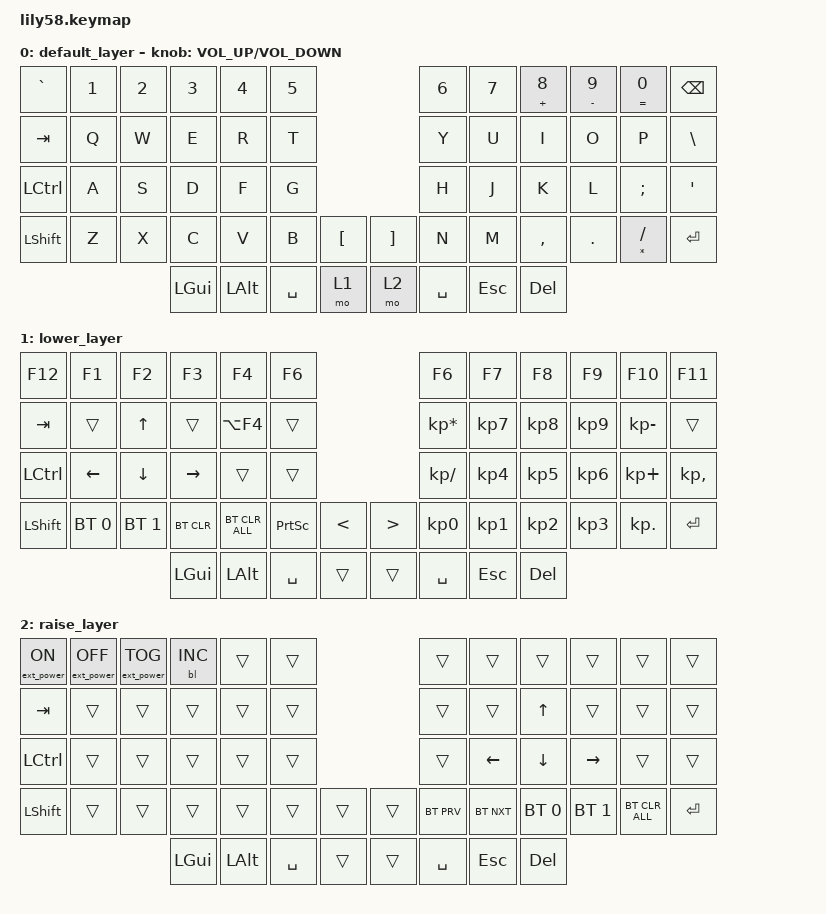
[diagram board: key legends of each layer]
/*
 * Copyright (c) 2020 The ZMK Contributors
 *
 * SPDX-License-Identifier: MIT
 */

#include <behaviors.dtsi>
#include <dt-bindings/zmk/backlight.h>
#include <dt-bindings/zmk/bt.h>
#include <dt-bindings/zmk/ext_power.h>
#include <dt-bindings/zmk/keys.h>

/ {
    combos { compatible = "zmk,combos"; };

    keymap {
        compatible = "zmk,keymap";

        default_layer {
            // ------------------------------------------------------------------------------------------------------------
            // |  ESC  |  1  |  2  |  3   |  4   |  5   |                   |  6   |  7    |  8    |  9   |   0   |   `   |
            // |  TAB  |  Q  |  W  |  E   |  R   |  T   |                   |  Y   |  U    |  I    |  O   |   P   |   -   |
            // |  CTRL |  A  |  S  |  D   |  F   |  G   |                   |  H   |  J    |  K    |  L   |   ;   |   '   |
            // | SHIFT |  Z  |  X  |  C   |  V   |  B   |   "["  |  |  "]"  |  N   |  M    |  ,    |  .   |   /   | SHIFT |
            //                     | ALT  | GUI  | LOWER|  SPACE |  | ENTER | RAISE| BSPC  | GUI   |

            bindings = <
&kp GRAVE       &kp N1  &kp N2  &kp N3        &kp N4        &kp N5                                   &kp N6     &kp N7   &mt PLUS N8  &mt MINUS N9  &mt EQUAL N0   &kp BACKSPACE
&kp TAB         &kp Q   &kp W   &kp E         &kp R         &kp T                                    &kp Y      &kp U    &kp I        &kp O         &kp P          &kp BSLH
&kp LCTRL       &kp A   &kp S   &kp D         &kp F         &kp G                                    &kp H      &kp J    &kp K        &kp L         &kp SEMI       &kp SQT
&kp LEFT_SHIFT  &kp Z   &kp X   &kp C         &kp V         &kp B      &kp LEFT_BRACKET    &kp RBKT  &kp N      &kp M    &kp COMMA    &kp DOT       &mt STAR FSLH  &kp ENTER
                                &kp LEFT_GUI  &kp LEFT_ALT  &kp SPACE  &mo 1               &mo 2     &kp SPACE  &kp ESC  &kp DEL
            >;

            sensor-bindings = <&inc_dec_kp C_VOLUME_UP C_VOLUME_DOWN>;
        };

        lower_layer {
            // ------------------------------------------------------------------------------------------------------------
            // | BTCLR | BT1 | BT2 |  BT3 |  BT4 |  BT5 |                   |      |       |       |      |       |       |
            // |  F1   |  F2 |  F3 |  F4  |  F5  |  F6  |                   |  F7  |  F8   |  F9   |  F10 |  F11  |  F12  |
            // |   `   |  !  |  @  |  #   |  $   |  %   |                   |  ^   |  &    |  *    |  (   |   )   |   ~   |
            // |       |     |     |      |      |      |        |  |       |      |  _    |  +    |  {   |   }   |  "|"  |
            //                     |      |      |      |        |  |       |      |       |       |

            bindings = <
&kp F12           &kp F1          &kp F2          &kp F3           &kp F4          &kp F6                                              &kp F6           &kp F7           &kp F8           &kp F9           &kp F10       &kp F11
&kp TAB           &trans          &kp UP          &trans           &kp LA(F4)      &trans                                              &kp KP_ASTERISK  &kp KP_NUMBER_7  &kp KP_NUMBER_8  &kp KP_NUMBER_9  &kp KP_MINUS  &trans
&kp LEFT_CONTROL  &kp LEFT_ARROW  &kp DOWN_ARROW  &kp RIGHT_ARROW  &trans          &trans                                              &kp KP_SLASH     &kp KP_NUMBER_4  &kp KP_NUMBER_5  &kp KP_NUMBER_6  &kp KP_PLUS   &kp KP_COMMA
&kp LEFT_SHIFT    &bt BT_SEL 0    &bt BT_SEL 1    &bt BT_CLR       &bt BT_CLR_ALL  &kp PRINTSCREEN  &kp LESS_THAN    &kp GREATER_THAN  &kp KP_N0        &kp KP_NUMBER_1  &kp KP_NUMBER_2  &kp KP_NUMBER_3  &kp KP_DOT    &kp ENTER
                                                  &kp LEFT_GUI     &kp LEFT_ALT    &kp SPACE        &trans           &trans            &kp SPACE        &kp ESC          &kp DEL
            >;
        };

        raise_layer {
            bindings = <
&ext_power EP_ON  &ext_power EP_OFF  &ext_power EP_TOG  &bl BL_INC    &trans        &trans                       &trans      &trans          &trans          &trans        &trans          &trans
&kp TAB           &trans             &trans             &trans        &trans        &trans                       &trans      &trans          &kp UP_ARROW    &trans        &trans          &trans
&kp LCTRL         &trans             &trans             &trans        &trans        &trans                       &trans      &kp LEFT_ARROW  &kp DOWN_ARROW  &kp RIGHT     &trans          &trans
&kp LEFT_SHIFT    &trans             &trans             &trans        &trans        &trans     &trans    &trans  &bt BT_PRV  &bt BT_NXT      &bt BT_SEL 0    &bt BT_SEL 1  &bt BT_CLR_ALL  &kp ENTER
                                                        &kp LEFT_GUI  &kp LEFT_ALT  &kp SPACE  &trans    &trans  &kp SPACE   &kp ESC         &kp DEL
            >;
        };
    };
};
